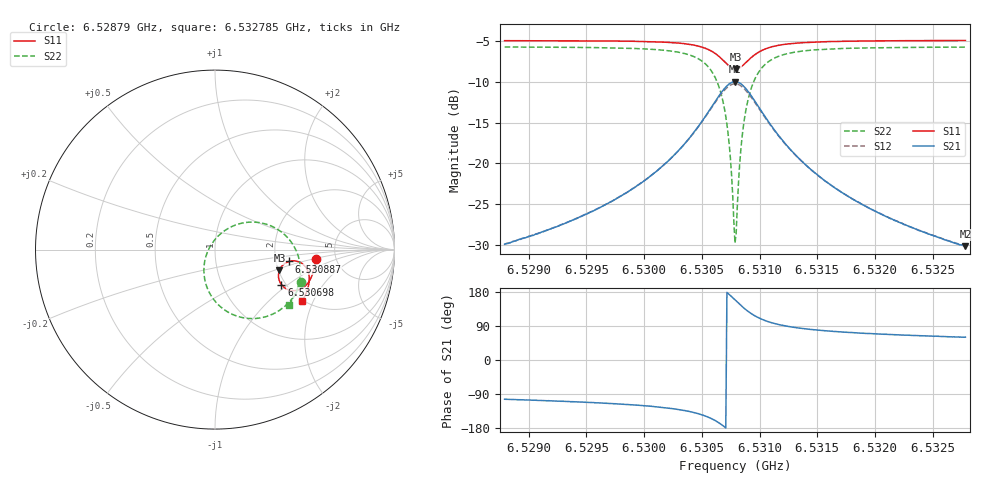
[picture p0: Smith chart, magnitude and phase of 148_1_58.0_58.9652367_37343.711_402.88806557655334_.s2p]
#  HZ  S  RI  R  50.00
! Rohde & Schwarz Vector Network Analyzer
! Rohde-Schwarz,ZNB20-2Port,1311601062101988,3.16
! Created: UTC 3/21/2024, 12:56:54 AM
! freq[Hz]  re:S11  im:S11  re:S21  im:S21  re:S12  im:S12  re:S22  im:S22
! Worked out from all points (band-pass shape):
!   401 points, 6.52879 GHz to 6.532785 GHz, reference 50 ohm
!   highest |S21| = -10.00 dB at 6.530787 GHz (marker M1); lowest = -30.1 dB at 6.532785 GHz (marker M2)
!   |S21| within 3 dB of the highest: 6.530589 GHz to 6.530988 GHz (399.6 kHz wide, 0.00612 % of centre)
!   lowest |S11| = -8.5 dB at 6.530797 GHz (marker M3), VSWR 2.21, Z = 101 - j27.1 ohm
!   |S11| at or under -10 dB: nowhere
!   |S22| runs from -29.7 to -5.8 dB; largest |S21 - S12| = 0.013
!   S11 on the Smith chart (normalised r, x): 6.52879 GHz: 3.49, -0.53; 6.530698 GHz: 1.90, -0.90; 6.530887 GHz: 2.36, -0.38; 6.532785 GHz: 1.96, -1.66
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6.5287904e9  0.5606 -0.0524  -0.00753 -0.0312  -0.00819 -0.031  0.4815 -0.1827
6.5294594e9  0.5513 -0.1089  -0.0172 -0.0445  -0.0182 -0.0441  0.4491 -0.2453
6.5298289e9  0.5405 -0.1438  -0.0295 -0.0582  -0.0312 -0.0574  0.4161 -0.2893
6.5301284e9  0.5241 -0.1773  -0.0519 -0.0764  -0.054 -0.075  0.3649 -0.3347
6.5303581e9  0.4972 -0.2077  -0.0925 -0.0966  -0.0956 -0.0933  0.2817 -0.3741
6.5305278e9  0.4527 -0.2277  -0.1627 -0.1035  -0.1652 -0.0967  0.1521 -0.3787
6.5306277e9  0.4065 -0.2229  -0.2344 -0.0767  -0.2335 -0.0664  0.032 -0.3195
6.5306976e9  0.3702 -0.195  -0.2875 -0.0166  -0.2813 -0.00602  -0.0455 -0.2081
6.5307375e9  0.3564 -0.1665  -0.3042 0.0378  -0.2946 0.0463  -0.0621 -0.1148
6.5307775e9  0.3547 -0.1319  -0.2995 0.1  -0.288 0.1049  -0.042 -0.0136
6.5307875e9  0.3566 -0.1231  -0.2946 0.1152  -0.2828 0.1191  -0.0309 0.0104
6.5307974e9  0.3593 -0.1147  -0.288 0.1299  -0.2763 0.1328  -0.0172 0.0332
6.5308074e9  0.3631 -0.1067  -0.28 0.144  -0.2685 0.1459  -0.00159 0.0545
6.5308274e9  0.3728 -0.0922  -0.2607 0.1689  -0.2497 0.1687  0.035 0.0914
6.5308474e9  0.3849 -0.0804  -0.2375 0.1888  -0.2279 0.1872  0.0766 0.1197
6.5308873e9  0.4123 -0.066  -0.1874 0.2129  -0.1802 0.2098  0.1636 0.1501
6.5309572e9  0.4567 -0.0646  -0.1099 0.2156  -0.106 0.2123  0.294 0.1388
6.5310571e9  0.4959 -0.0863  -0.0428 0.184  -0.041 0.1822  0.4023 0.0689
6.5312068e9  0.5192 -0.1226  -0.00218 0.1363  -0.000812 0.1356  0.4615 -0.0289
6.5314565e9  0.5257 -0.1663  0.0154 0.0892  0.0166 0.0888  0.4762 -0.1285
6.5321255e9  0.5096 -0.2374  0.0179 0.0427  0.0186 0.0426  0.4478 -0.2459
6.5327845e9  0.4856 -0.2884  0.0154 0.0272  0.0162 0.0268  0.4133 -0.3059
